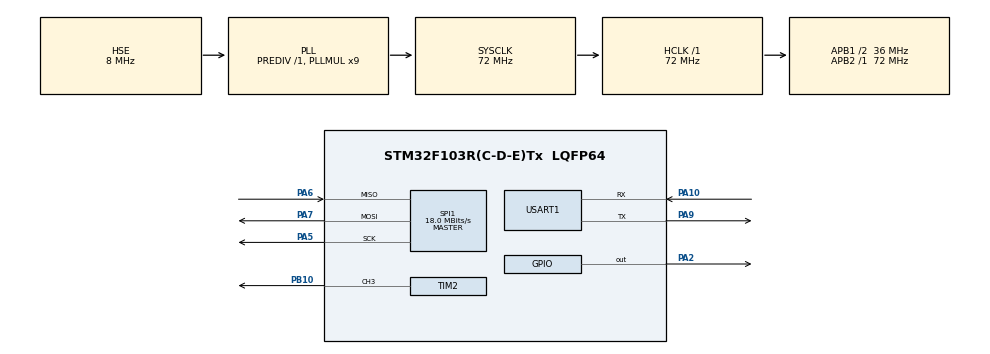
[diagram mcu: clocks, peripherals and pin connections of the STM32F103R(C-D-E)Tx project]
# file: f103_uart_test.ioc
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Dma.Request0=USART1_RX
Dma.Request1=USART1_TX
Dma.Request2=SPI1_RX
Dma.Request3=SPI1_TX
Dma.SPI1_RX.2.Direction=DMA_PERIPH_TO_MEMORY
Dma.SPI1_RX.2.Instance=DMA1_Channel2
Dma.SPI1_RX.2.MemDataAlignment=DMA_MDATAALIGN_BYTE
Dma.SPI1_RX.2.MemInc=DMA_MINC_ENABLE
Dma.SPI1_RX.2.Mode=DMA_NORMAL
Dma.SPI1_RX.2.PeriphDataAlignment=DMA_PDATAALIGN_BYTE
Dma.SPI1_RX.2.PeriphInc=DMA_PINC_DISABLE
Dma.SPI1_RX.2.Priority=DMA_PRIORITY_LOW
Dma.SPI1_TX.3.Direction=DMA_MEMORY_TO_PERIPH
Dma.SPI1_TX.3.Instance=DMA1_Channel3
Dma.SPI1_TX.3.MemDataAlignment=DMA_MDATAALIGN_BYTE
Dma.SPI1_TX.3.MemInc=DMA_MINC_ENABLE
Dma.SPI1_TX.3.Mode=DMA_NORMAL
Dma.SPI1_TX.3.PeriphDataAlignment=DMA_PDATAALIGN_BYTE
Dma.SPI1_TX.3.PeriphInc=DMA_PINC_DISABLE
Dma.SPI1_TX.3.Priority=DMA_PRIORITY_LOW
Dma.USART1_RX.0.Direction=DMA_PERIPH_TO_MEMORY
Dma.USART1_RX.0.Instance=DMA1_Channel5
Dma.USART1_RX.0.MemDataAlignment=DMA_MDATAALIGN_BYTE
Dma.USART1_RX.0.MemInc=DMA_MINC_ENABLE
Dma.USART1_RX.0.Mode=DMA_NORMAL
Dma.USART1_RX.0.PeriphDataAlignment=DMA_PDATAALIGN_BYTE
Dma.USART1_RX.0.PeriphInc=DMA_PINC_DISABLE
Dma.USART1_RX.0.Priority=DMA_PRIORITY_LOW
Dma.USART1_TX.1.Direction=DMA_MEMORY_TO_PERIPH
Dma.USART1_TX.1.Instance=DMA1_Channel4
Dma.USART1_TX.1.MemDataAlignment=DMA_MDATAALIGN_BYTE
Dma.USART1_TX.1.MemInc=DMA_MINC_ENABLE
Dma.USART1_TX.1.Mode=DMA_NORMAL
Dma.USART1_TX.1.PeriphDataAlignment=DMA_PDATAALIGN_BYTE
Dma.USART1_TX.1.PeriphInc=DMA_PINC_DISABLE
Dma.USART1_TX.1.Priority=DMA_PRIORITY_LOW
Mcu.Family=STM32F1
Mcu.Name=STM32F103R(C-D-E)Tx
Mcu.Package=LQFP64
NVIC.DMA1_Channel2_IRQn=true\:0\:0\:false\:false\:true\:false\:true\:true
NVIC.DMA1_Channel3_IRQn=true\:0\:0\:false\:false\:true\:false\:true\:true
NVIC.DMA1_Channel4_IRQn=true\:0\:0\:false\:false\:true\:false\:true\:true
NVIC.DMA1_Channel5_IRQn=true\:0\:0\:false\:false\:true\:false\:true\:true
NVIC.PriorityGroup=NVIC_PRIORITYGROUP_4
NVIC.SPI1_IRQn=true\:0\:0\:false\:false\:true\:true\:true\:true
NVIC.USART1_IRQn=true\:0\:0\:false\:false\:true\:true\:true\:true
PA10.Mode=Asynchronous
PA10.Signal=USART1_RX
PA13.Mode=Serial_Wire
PA13.Signal=SYS_JTMS-SWDIO
PA14.Mode=Serial_Wire
PA14.Signal=SYS_JTCK-SWCLK
PA2.Signal=GPIO_Output
PA5.Mode=Full_Duplex_Master
PA5.Signal=SPI1_SCK
PA6.Mode=Full_Duplex_Master
PA6.Signal=SPI1_MISO
PA7.Mode=Full_Duplex_Master
PA7.Signal=SPI1_MOSI
PA9.Mode=Asynchronous
PA9.Signal=USART1_TX
PB10.Signal=S_TIM2_CH3
PC14-OSC32_IN.Mode=LSE-External-Oscillator
PC14-OSC32_IN.Signal=RCC_OSC32_IN
PC15-OSC32_OUT.Mode=LSE-External-Oscillator
PC15-OSC32_OUT.Signal=RCC_OSC32_OUT
PD0-OSC_IN.Mode=HSE-External-Oscillator
PD0-OSC_IN.Signal=RCC_OSC_IN
PD1-OSC_OUT.Mode=HSE-External-Oscillator
PD1-OSC_OUT.Signal=RCC_OSC_OUT
ProjectManager.HeapSize=0x200
ProjectManager.StackSize=0x400
ProjectManager.TargetToolchain=MDK-ARM V5.32
RCC.AHBFreq_Value=72000000
RCC.APB1CLKDivider=RCC_HCLK_DIV2
RCC.APB1Freq_Value=36000000
RCC.APB1TimFreq_Value=72000000
RCC.APB2Freq_Value=72000000
RCC.APB2TimFreq_Value=72000000
RCC.HCLKFreq_Value=72000000
RCC.PLLMUL=RCC_PLL_MUL9
RCC.PLLSourceVirtual=RCC_PLLSOURCE_HSE
RCC.SYSCLKFreq_VALUE=72000000
RCC.SYSCLKSource=RCC_SYSCLKSOURCE_PLLCLK
RCC.USBFreq_Value=72000000
SH.S_TIM2_CH3.0=TIM2_CH3,PWM Generation3 CH3
SPI1.BaudRatePrescaler=SPI_BAUDRATEPRESCALER_4
SPI1.CalculateBaudRate=18.0 MBits/s
SPI1.Direction=SPI_DIRECTION_2LINES
SPI1.Mode=SPI_MODE_MASTER
SPI1.VirtualType=VM_MASTER
TIM2.Channel-PWM\ Generation3\ CH3=TIM_CHANNEL_3
TIM2.Period=100
TIM2.Prescaler=71
USART1.VirtualMode=VM_ASYNC
board=custom

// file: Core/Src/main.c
/* USER CODE BEGIN Header */
/**
 ******************************************************************************
 * @file           : main.c
 * @brief          : Main program body
 ******************************************************************************
 * @attention
 *
 * Copyright (c) 2023 STMicroelectronics.
 * All rights reserved.
 *
 * This software is licensed under terms that can be found in the LICENSE file
 * in the root directory of this software component.
 * If no LICENSE file comes with this software, it is provided AS-IS.
 *
 ******************************************************************************
 */
/* USER CODE END Header */
#include "main.h"
#include "dma.h"
#include "spi.h"
#include "tim.h"
#include "usart.h"
#include "gpio.h"

/* USER CODE BEGIN Includes */
#include <stdlib.h>
#include <string.h>
#include <ctype.h>

// #include "stm32f1xx_it.h"
/* USER CODE END Includes */

/* USER CODE BEGIN PV */
extern uint8_t UartFlag_CB;

uint8_t txData[] = {"uart test output\r\n"}, rxData[RXBUFF_SIZE] = {0}, rxcnt = 0;
char *pIns, *pRxCh;
/* USER CODE END PV */

void SystemClock_Config(void);

int main(void)
{

    /* MCU Configuration--------------------------------------------------------*/

    /* Reset of all peripherals, Initializes the Flash interface and the Systick. */
    HAL_Init();

    /* Configure the system clock */
    SystemClock_Config();

    /* Initialize all configured peripherals */
    MX_GPIO_Init();
    MX_DMA_Init();
    MX_USART1_UART_Init();
    MX_SPI1_Init();
    MX_TIM2_Init();
    /* USER CODE BEGIN 2 */
	HAL_TIM_PWM_Start(&htim2, TIM_CHANNEL_3);	// TIM3通道4PWM输出开启
	TIM2->CCR3 = 50;							// 占空比设定为50
	HAL_UART_Receive_IT(&huart1, (uint8_t*)pRxCh, sizeof(*pRxCh));

    /* USER CODE END 2 */

    /* Infinite loop */
    /* USER CODE BEGIN WHILE */
    while (1)
	{
		if(0 == UartFlag_CB)
		{
			NULL;
		}
		else if(1 == UartFlag_CB)
		{
			pIns = strstr((char*)rxData, "pwm") + sizeof("pwm") - 1;
			TIM2->CCR3 = (uint8_t)atoi(pIns);
			for(uint8_t i=0;i<16;i++)
			rxData[i] = 0;

			UartFlag_CB = 0;
		}
        // HAL_UART_Transmit_DMA(&huart1, txData, sizeof(txData));
		// HAL_Delay(1000);
        /* USER CODE END WHILE */

        /* USER CODE BEGIN 3 */
        NULL;
    }
    /* USER CODE END 3 */
}

void SystemClock_Config(void)
{
    RCC_OscInitTypeDef RCC_OscInitStruct = {0};
    RCC_ClkInitTypeDef RCC_ClkInitStruct = {0};

    /** Initializes the RCC Oscillators according to the specified parameters
     * in the RCC_OscInitTypeDef structure.
     */
    RCC_OscInitStruct.OscillatorType = RCC_OSCILLATORTYPE_HSE;
    RCC_OscInitStruct.HSEState       = RCC_HSE_ON;
    RCC_OscInitStruct.HSEPredivValue = RCC_HSE_PREDIV_DIV1;
    RCC_OscInitStruct.HSIState       = RCC_HSI_ON;
    RCC_OscInitStruct.PLL.PLLState   = RCC_PLL_ON;
    RCC_OscInitStruct.PLL.PLLSource  = RCC_PLLSOURCE_HSE;
    RCC_OscInitStruct.PLL.PLLMUL     = RCC_PLL_MUL9;
    if (HAL_RCC_OscConfig(&RCC_OscInitStruct) != HAL_OK) {
        Error_Handler();
    }

    /** Initializes the CPU, AHB and APB buses clocks
     */
    RCC_ClkInitStruct.ClockType      = RCC_CLOCKTYPE_HCLK | RCC_CLOCKTYPE_SYSCLK | RCC_CLOCKTYPE_PCLK1 | RCC_CLOCKTYPE_PCLK2;
    RCC_ClkInitStruct.SYSCLKSource   = RCC_SYSCLKSOURCE_PLLCLK;
    RCC_ClkInitStruct.AHBCLKDivider  = RCC_SYSCLK_DIV1;
    RCC_ClkInitStruct.APB1CLKDivider = RCC_HCLK_DIV2;
    RCC_ClkInitStruct.APB2CLKDivider = RCC_HCLK_DIV1;

    if (HAL_RCC_ClockConfig(&RCC_ClkInitStruct, FLASH_LATENCY_2) != HAL_OK) {
        Error_Handler();
    }
}

void Error_Handler(void)
{
    __disable_irq();
    while (1) {
    }
}
